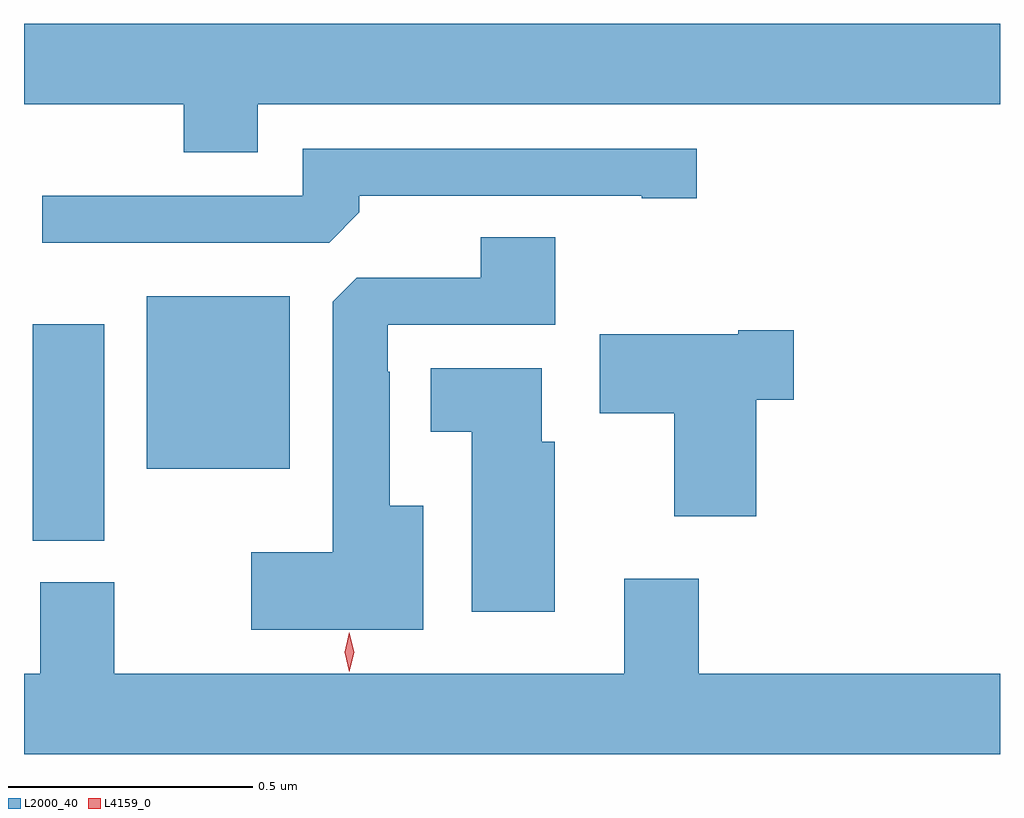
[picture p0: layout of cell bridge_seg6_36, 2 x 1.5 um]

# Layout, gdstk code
import gdstk
lib = gdstk.Library(unit=1e-6, precision=1e-09)
def R(c, l, rs):  # rectangles x0, y0, x1, y1
    for r in rs: c.add(gdstk.rectangle(r[:2], r[2:], *l))
def P(c, l, *ps):  # polygons
    for p in ps: c.add(gdstk.Polygon(p, *l))
L2000_40 = (2000, 40)
L4159_0 = (4159, 0)

bridge_seg6_36 = lib.new_cell('bridge_seg6_36')
R(bridge_seg6_36, L2000_40, [(1094.642,986.401,1094.788,986.845), (1094.876,986.549,1095.169,986.902)])
P(bridge_seg6_36, L2000_40, [(1095.103,987.296),(1096.624,987.296),(1096.624,987.46),(1094.624,987.46),(1094.624,987.296),(1094.951,987.296),(1094.951,987.197),(1095.103,987.197)],
  [(1095.311,987.074),(1095.311,987.108),(1095.89,987.108),(1095.89,987.103),(1096.003,987.103),(1096.003,987.204),(1095.195,987.204),(1095.195,987.108),(1094.661,987.108),(1094.661,987.012),(1095.249,987.012)],
  [(1095.442,986.473),(1095.373,986.473),(1095.373,986.747),(1095.369,986.747),(1095.369,986.844),(1095.713,986.844),(1095.713,987.023),(1095.56,987.023),(1095.56,986.94),(1095.306,986.94),(1095.257,986.891),(1095.257,986.377),(1095.09,986.377),(1095.09,986.219),(1095.442,986.219)],
  [(1096.124,986.69),(1096.201,986.69),(1096.201,986.832),(1096.088,986.832),(1096.088,986.824),(1095.804,986.824),(1095.804,986.662),(1095.956,986.662),(1095.956,986.451),(1096.124,986.451)],
  [(1095.712,986.604),(1095.685,986.604),(1095.685,986.755),(1095.458,986.755),(1095.458,986.624),(1095.542,986.624),(1095.542,986.256),(1095.712,986.256)],
  [(1096.624,986.128),(1096.007,986.128),(1096.007,986.323),(1095.854,986.323),(1095.854,986.128),(1094.809,986.128),(1094.809,986.316),(1094.657,986.316),(1094.657,986.128),(1094.624,986.128),(1094.624,985.964),(1096.624,985.964)])
P(bridge_seg6_36, L4159_0, [(1095.291,986.133),(1095.291,986.133),(1095.281,986.173),(1095.291,986.214),(1095.291,986.214),(1095.291,986.214),(1095.301,986.173),(1095.291,986.133)])

lib.write_gds('bridge_seg6_36.gds')
